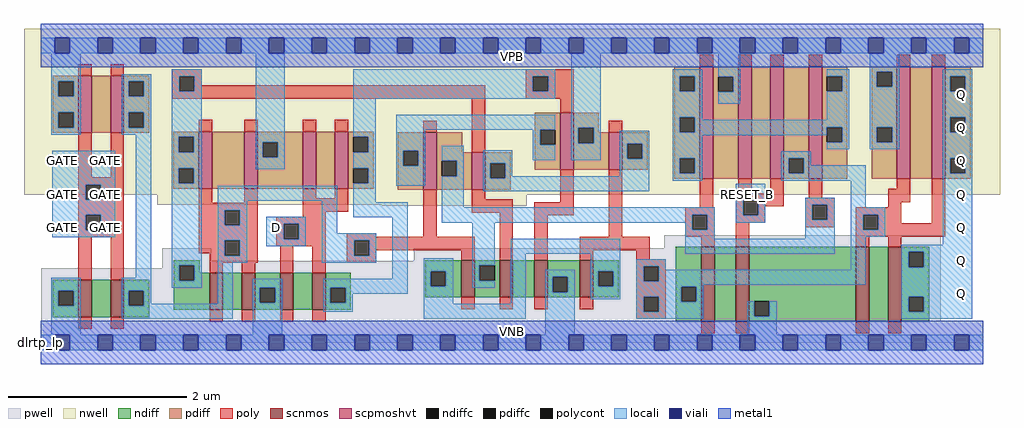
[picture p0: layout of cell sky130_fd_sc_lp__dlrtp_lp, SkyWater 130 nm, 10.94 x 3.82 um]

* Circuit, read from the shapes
.subckt sky130_fd_sc_lp__dlrtp_lp D GATE RESET_B VGND VNB VPB VPWR Q
XM1 n1 GATE VGND VNB sky130_fd_pr__nfet_01v8 w=0.42 l=0.15
XM2 n2 GATE n1 VNB sky130_fd_pr__nfet_01v8 w=0.42 l=0.15
XM3 n3 n2 n4 VNB sky130_fd_pr__nfet_01v8 w=0.42 l=0.15
XM4 VGND n2 n3 VNB sky130_fd_pr__nfet_01v8 w=0.42 l=0.15
XM5 n5 D VGND VNB sky130_fd_pr__nfet_01v8 w=0.42 l=0.15
XM6 n6 D n5 VNB sky130_fd_pr__nfet_01v8 w=0.42 l=0.15
XM7 n7 n2 n8 VNB sky130_fd_pr__nfet_01v8 w=0.42 l=0.15
XM8 n9 n4 n7 VNB sky130_fd_pr__nfet_01v8 w=0.42 l=0.15
XM9 VGND n6 n9 VNB sky130_fd_pr__nfet_01v8 w=0.42 l=0.15
XM10 n8 n10 VGND VNB sky130_fd_pr__nfet_01v8 w=0.42 l=0.15
XM11 n11 n7 n10 VNB sky130_fd_pr__nfet_01v8 w=0.84 l=0.15
XM12 VGND RESET_B n11 VNB sky130_fd_pr__nfet_01v8 w=0.84 l=0.15
XM13 n12 n10 VGND VNB sky130_fd_pr__nfet_01v8 w=0.84 l=0.15
XM14 Q n10 n12 VNB sky130_fd_pr__nfet_01v8 w=0.84 l=0.15
XM15 n13 GATE VPWR VPB sky130_fd_pr__pfet_01v8_hvt w=0.64 l=0.15
XM16 n2 GATE n13 VPB sky130_fd_pr__pfet_01v8_hvt w=0.64 l=0.15
XM17 n14 n2 n4 VPB sky130_fd_pr__pfet_01v8_hvt w=0.64 l=0.15
XM18 VPWR n2 n14 VPB sky130_fd_pr__pfet_01v8_hvt w=0.64 l=0.15
XM19 n15 D VPWR VPB sky130_fd_pr__pfet_01v8_hvt w=0.64 l=0.15
XM20 n6 D n15 VPB sky130_fd_pr__pfet_01v8_hvt w=0.64 l=0.15
XM21 n7 n2 n16 VPB sky130_fd_pr__pfet_01v8_hvt w=0.64 l=0.15
XM22 n17 n4 n7 VPB sky130_fd_pr__pfet_01v8_hvt w=0.42 l=0.15
XM23 VPWR n6 n16 VPB sky130_fd_pr__pfet_01v8_hvt w=0.64 l=0.15
XM24 n17 n10 VPWR VPB sky130_fd_pr__pfet_01v8_hvt w=0.42 l=0.15
XM25 VPWR n7 n18 VPB sky130_fd_pr__pfet_01v8_hvt w=1.26 l=0.15
XM26 n19 RESET_B VPWR VPB sky130_fd_pr__pfet_01v8_hvt w=1.26 l=0.15
XM27 n10 RESET_B n19 VPB sky130_fd_pr__pfet_01v8_hvt w=1.26 l=0.15
XM28 n18 n7 n10 VPB sky130_fd_pr__pfet_01v8_hvt w=1.26 l=0.15
XM29 n20 n10 VPWR VPB sky130_fd_pr__pfet_01v8_hvt w=1.26 l=0.15
XM30 Q n10 n20 VPB sky130_fd_pr__pfet_01v8_hvt w=1.26 l=0.15
.ends

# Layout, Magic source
magic
tech sky130A
magscale 1 2
<< nwell >>
rect -38 331 2150 704
rect 261 309 1089 331
rect 764 307 1089 309
<< pwell >>
rect 1397 211 2017 241
rect 272 183 382 211
rect 836 183 2017 211
rect 272 167 2017 183
rect 1 49 2017 167
rect 0 0 2112 49
<< scnmos >>
rect 84 57 114 141
rect 156 57 186 141
rect 378 73 408 157
rect 450 73 480 157
rect 536 73 566 157
rect 608 73 638 157
rect 942 101 972 185
rect 1028 101 1058 185
rect 1106 101 1136 185
rect 1208 101 1238 185
rect 1480 47 1510 215
rect 1558 47 1588 215
rect 1827 47 1857 215
rect 1899 47 1929 215
<< scpmoshvt >>
rect 84 470 114 598
rect 156 470 186 598
rect 354 345 384 473
rect 456 345 486 473
rect 587 345 617 473
rect 659 345 689 473
rect 857 343 887 471
rect 966 343 996 427
rect 1164 387 1194 515
rect 1273 387 1303 471
rect 1477 367 1507 619
rect 1563 367 1593 619
rect 1635 367 1665 619
rect 1721 367 1751 619
rect 1919 367 1949 619
rect 1997 367 2027 619
<< ndiff >>
rect 298 173 356 185
rect 27 116 84 141
rect 27 82 39 116
rect 73 82 84 116
rect 27 57 84 82
rect 114 57 156 141
rect 186 116 243 141
rect 186 82 197 116
rect 231 82 243 116
rect 186 57 243 82
rect 298 139 310 173
rect 344 157 356 173
rect 862 160 942 185
rect 344 139 378 157
rect 298 73 378 139
rect 408 73 450 157
rect 480 123 536 157
rect 480 89 491 123
rect 525 89 536 123
rect 480 73 536 89
rect 566 73 608 157
rect 638 123 695 157
rect 638 89 649 123
rect 683 89 695 123
rect 862 126 874 160
rect 908 126 942 160
rect 862 101 942 126
rect 972 173 1028 185
rect 972 139 983 173
rect 1017 139 1028 173
rect 972 101 1028 139
rect 1058 101 1106 185
rect 1136 147 1208 185
rect 1136 113 1147 147
rect 1181 113 1208 147
rect 1136 101 1208 113
rect 1238 160 1295 185
rect 1238 126 1249 160
rect 1283 126 1295 160
rect 1238 101 1295 126
rect 638 73 695 89
rect 1423 125 1480 215
rect 1423 91 1435 125
rect 1469 91 1480 125
rect 1423 47 1480 91
rect 1510 47 1558 215
rect 1588 93 1827 215
rect 1588 59 1599 93
rect 1633 59 1827 93
rect 1588 47 1827 59
rect 1857 47 1899 215
rect 1929 203 1991 215
rect 1929 169 1945 203
rect 1979 169 1991 203
rect 1929 103 1991 169
rect 1929 69 1945 103
rect 1979 69 1991 103
rect 1929 47 1991 69
<< pdiff >>
rect 27 586 84 598
rect 27 552 39 586
rect 73 552 84 586
rect 27 516 84 552
rect 27 482 39 516
rect 73 482 84 516
rect 27 470 84 482
rect 114 470 156 598
rect 186 586 243 598
rect 186 552 197 586
rect 231 552 243 586
rect 186 516 243 552
rect 186 482 197 516
rect 231 482 243 516
rect 186 470 243 482
rect 297 461 354 473
rect 297 427 309 461
rect 343 427 354 461
rect 297 391 354 427
rect 297 357 309 391
rect 343 357 354 391
rect 297 345 354 357
rect 384 345 456 473
rect 486 449 587 473
rect 486 415 497 449
rect 531 415 587 449
rect 486 345 587 415
rect 617 345 659 473
rect 689 461 746 473
rect 689 427 700 461
rect 734 427 746 461
rect 689 391 746 427
rect 689 357 700 391
rect 734 357 746 391
rect 689 345 746 357
rect 800 430 857 471
rect 800 396 812 430
rect 846 396 857 430
rect 800 343 857 396
rect 887 427 944 471
rect 1420 597 1477 619
rect 1420 563 1432 597
rect 1466 563 1477 597
rect 1107 477 1164 515
rect 1107 443 1119 477
rect 1153 443 1164 477
rect 887 407 966 427
rect 887 373 898 407
rect 932 373 966 407
rect 887 343 966 373
rect 996 402 1053 427
rect 996 368 1007 402
rect 1041 368 1053 402
rect 1107 387 1164 443
rect 1194 481 1251 515
rect 1420 505 1477 563
rect 1194 447 1205 481
rect 1239 471 1251 481
rect 1420 471 1432 505
rect 1466 471 1477 505
rect 1239 447 1273 471
rect 1194 387 1273 447
rect 1303 446 1360 471
rect 1303 412 1314 446
rect 1348 412 1360 446
rect 1303 387 1360 412
rect 1420 413 1477 471
rect 996 343 1053 368
rect 1420 379 1432 413
rect 1466 379 1477 413
rect 1420 367 1477 379
rect 1507 596 1563 619
rect 1507 562 1518 596
rect 1552 562 1563 596
rect 1507 367 1563 562
rect 1593 367 1635 619
rect 1665 413 1721 619
rect 1665 379 1676 413
rect 1710 379 1721 413
rect 1665 367 1721 379
rect 1751 597 1808 619
rect 1751 563 1762 597
rect 1796 563 1808 597
rect 1751 483 1808 563
rect 1751 449 1762 483
rect 1796 449 1808 483
rect 1751 367 1808 449
rect 1862 607 1919 619
rect 1862 573 1874 607
rect 1908 573 1919 607
rect 1862 483 1919 573
rect 1862 449 1874 483
rect 1908 449 1919 483
rect 1862 367 1919 449
rect 1949 367 1997 619
rect 2027 597 2084 619
rect 2027 563 2038 597
rect 2072 563 2084 597
rect 2027 505 2084 563
rect 2027 471 2038 505
rect 2072 471 2084 505
rect 2027 413 2084 471
rect 2027 379 2038 413
rect 2072 379 2084 413
rect 2027 367 2084 379
<< ndiffc >>
rect 39 82 73 116
rect 197 82 231 116
rect 310 139 344 173
rect 491 89 525 123
rect 649 89 683 123
rect 874 126 908 160
rect 983 139 1017 173
rect 1147 113 1181 147
rect 1249 126 1283 160
rect 1435 91 1469 125
rect 1599 59 1633 93
rect 1945 169 1979 203
rect 1945 69 1979 103
<< pdiffc >>
rect 39 552 73 586
rect 39 482 73 516
rect 197 552 231 586
rect 197 482 231 516
rect 309 427 343 461
rect 309 357 343 391
rect 497 415 531 449
rect 700 427 734 461
rect 700 357 734 391
rect 812 396 846 430
rect 1432 563 1466 597
rect 1119 443 1153 477
rect 898 373 932 407
rect 1007 368 1041 402
rect 1205 447 1239 481
rect 1432 471 1466 505
rect 1314 412 1348 446
rect 1432 379 1466 413
rect 1518 562 1552 596
rect 1676 379 1710 413
rect 1762 563 1796 597
rect 1762 449 1796 483
rect 1874 573 1908 607
rect 1874 449 1908 483
rect 2038 563 2072 597
rect 2038 471 2072 505
rect 2038 379 2072 413
<< poly >>
rect 84 598 114 624
rect 156 598 186 624
rect 1477 619 1507 645
rect 1563 619 1593 645
rect 1635 619 1665 645
rect 1721 619 1751 645
rect 1919 619 1949 645
rect 1997 619 2027 645
rect 294 597 360 613
rect 294 563 310 597
rect 344 577 360 597
rect 1087 597 1194 613
rect 344 563 996 577
rect 294 547 996 563
rect 1087 563 1103 597
rect 1137 563 1194 597
rect 1087 547 1194 563
rect 354 473 384 499
rect 456 473 486 499
rect 587 473 617 499
rect 659 473 689 499
rect 84 370 114 470
rect 156 370 186 470
rect 84 354 186 370
rect 84 320 100 354
rect 134 320 186 354
rect 857 471 887 497
rect 84 286 186 320
rect 84 252 100 286
rect 134 252 186 286
rect 84 236 186 252
rect 84 141 114 236
rect 156 141 186 236
rect 354 313 384 345
rect 456 313 486 345
rect 354 297 486 313
rect 354 263 412 297
rect 446 263 486 297
rect 587 323 617 345
rect 659 323 689 345
rect 966 427 996 547
rect 1164 515 1194 547
rect 1273 471 1303 497
rect 587 293 689 323
rect 587 282 638 293
rect 354 229 486 263
rect 354 200 412 229
rect 378 195 412 200
rect 446 195 486 229
rect 528 266 638 282
rect 528 232 544 266
rect 578 232 638 266
rect 528 216 638 232
rect 378 179 486 195
rect 378 157 408 179
rect 450 157 480 179
rect 536 157 566 216
rect 608 157 638 216
rect 686 237 752 245
rect 857 237 887 343
rect 966 321 996 343
rect 966 291 1058 321
rect 1164 315 1194 387
rect 686 229 972 237
rect 686 195 702 229
rect 736 207 972 229
rect 736 195 752 207
rect 686 179 752 195
rect 942 185 972 207
rect 1028 185 1058 291
rect 1106 285 1194 315
rect 1106 185 1136 285
rect 1273 237 1303 387
rect 1477 303 1507 367
rect 1563 335 1593 367
rect 1635 335 1665 367
rect 1558 319 1665 335
rect 1721 325 1751 367
rect 1919 345 1949 367
rect 1444 287 1510 303
rect 1444 253 1460 287
rect 1494 253 1510 287
rect 1444 237 1510 253
rect 1208 207 1365 237
rect 1480 215 1510 237
rect 1558 285 1574 319
rect 1608 305 1665 319
rect 1713 309 1779 325
rect 1608 285 1624 305
rect 1558 269 1624 285
rect 1713 275 1729 309
rect 1763 275 1779 309
rect 1899 315 1949 345
rect 1899 303 1929 315
rect 1558 215 1588 269
rect 1713 259 1779 275
rect 1827 287 1929 303
rect 1827 253 1843 287
rect 1877 267 1929 287
rect 1997 267 2027 367
rect 1877 253 2027 267
rect 1827 237 2027 253
rect 1827 215 1857 237
rect 1899 215 1929 237
rect 1208 185 1238 207
rect 1335 187 1365 207
rect 1335 171 1401 187
rect 1335 137 1351 171
rect 1385 137 1401 171
rect 1335 103 1401 137
rect 942 75 972 101
rect 1028 75 1058 101
rect 1106 75 1136 101
rect 1208 75 1238 101
rect 84 31 114 57
rect 156 31 186 57
rect 378 47 408 73
rect 450 47 480 73
rect 536 47 566 73
rect 608 47 638 73
rect 1335 69 1351 103
rect 1385 69 1401 103
rect 1335 53 1401 69
rect 1480 21 1510 47
rect 1558 21 1588 47
rect 1827 21 1857 47
rect 1899 21 1929 47
<< polycont >>
rect 310 563 344 597
rect 1103 563 1137 597
rect 100 320 134 354
rect 100 252 134 286
rect 412 263 446 297
rect 412 195 446 229
rect 544 232 578 266
rect 702 195 736 229
rect 1460 253 1494 287
rect 1574 285 1608 319
rect 1729 275 1763 309
rect 1843 253 1877 287
rect 1351 137 1385 171
rect 1351 69 1385 103
<< locali >>
rect 0 649 31 683
rect 65 649 127 683
rect 161 649 223 683
rect 257 649 319 683
rect 353 649 415 683
rect 449 649 511 683
rect 545 649 607 683
rect 641 649 703 683
rect 737 649 799 683
rect 833 649 895 683
rect 929 649 991 683
rect 1025 649 1087 683
rect 1121 649 1183 683
rect 1217 649 1279 683
rect 1313 649 1375 683
rect 1409 649 1471 683
rect 1505 649 1567 683
rect 1601 649 1663 683
rect 1697 649 1759 683
rect 1793 649 1855 683
rect 1889 649 1951 683
rect 1985 649 2047 683
rect 2081 649 2112 683
rect 23 586 89 649
rect 23 552 39 586
rect 73 552 89 586
rect 23 516 89 552
rect 23 482 39 516
rect 73 482 89 516
rect 23 466 89 482
rect 181 586 247 602
rect 181 552 197 586
rect 231 552 247 586
rect 181 516 247 552
rect 181 482 197 516
rect 231 482 247 516
rect 181 466 247 482
rect 25 354 167 430
rect 25 320 100 354
rect 134 320 167 354
rect 25 286 167 320
rect 25 252 100 286
rect 134 252 167 286
rect 25 236 167 252
rect 213 145 247 466
rect 23 116 89 145
rect 23 82 39 116
rect 73 82 89 116
rect 23 17 89 82
rect 181 116 247 145
rect 293 597 360 613
rect 293 563 310 597
rect 344 563 360 597
rect 293 461 360 563
rect 293 427 309 461
rect 343 427 360 461
rect 293 391 360 427
rect 293 357 309 391
rect 343 357 360 391
rect 481 449 547 649
rect 481 415 497 449
rect 531 415 547 449
rect 481 388 547 415
rect 700 597 1153 613
rect 700 563 1103 597
rect 1137 563 1153 597
rect 700 547 1153 563
rect 700 461 750 547
rect 734 427 750 461
rect 700 391 750 427
rect 293 173 360 357
rect 734 357 750 391
rect 293 139 310 173
rect 344 139 360 173
rect 293 123 360 139
rect 396 318 664 352
rect 396 297 462 318
rect 396 263 412 297
rect 446 263 462 297
rect 396 229 462 263
rect 396 195 412 229
rect 446 195 462 229
rect 505 266 594 282
rect 505 232 544 266
rect 578 232 594 266
rect 505 216 594 232
rect 630 245 664 318
rect 700 315 750 357
rect 796 477 1153 511
rect 796 430 862 477
rect 1103 443 1119 477
rect 796 396 812 430
rect 846 396 862 430
rect 796 351 862 396
rect 898 407 948 441
rect 932 373 948 407
rect 700 281 822 315
rect 630 229 752 245
rect 396 179 462 195
rect 630 195 702 229
rect 736 195 752 229
rect 630 179 752 195
rect 181 82 197 116
rect 231 87 247 116
rect 396 87 430 179
rect 788 143 822 281
rect 898 303 948 373
rect 991 402 1057 431
rect 1103 409 1153 443
rect 1189 481 1255 649
rect 1189 447 1205 481
rect 1239 447 1255 481
rect 1416 597 1482 613
rect 1416 563 1432 597
rect 1466 563 1482 597
rect 1416 505 1482 563
rect 1518 596 1568 649
rect 1552 562 1568 596
rect 1518 535 1568 562
rect 1762 597 1812 613
rect 1796 563 1812 597
rect 1189 409 1255 447
rect 1298 446 1364 475
rect 1298 412 1314 446
rect 1348 412 1364 446
rect 991 368 1007 402
rect 1041 373 1057 402
rect 1298 373 1364 412
rect 1041 368 1364 373
rect 991 339 1364 368
rect 1416 471 1432 505
rect 1466 499 1482 505
rect 1762 499 1812 563
rect 1466 483 1812 499
rect 1466 471 1762 483
rect 1416 465 1762 471
rect 1416 413 1482 465
rect 1796 449 1812 483
rect 1762 433 1812 449
rect 1858 607 1924 649
rect 1858 573 1874 607
rect 1908 573 1924 607
rect 1858 483 1924 573
rect 1858 449 1874 483
rect 1908 449 1924 483
rect 1858 433 1924 449
rect 2022 597 2088 613
rect 2022 563 2038 597
rect 2072 563 2088 597
rect 2022 505 2088 563
rect 2022 471 2038 505
rect 2072 471 2088 505
rect 1416 379 1432 413
rect 1466 379 1482 413
rect 1416 363 1482 379
rect 1660 413 1726 429
rect 1660 379 1676 413
rect 1710 397 1726 413
rect 2022 413 2088 471
rect 1710 379 1849 397
rect 1660 363 1849 379
rect 1558 319 1624 356
rect 898 287 1510 303
rect 898 269 1460 287
rect 231 82 430 87
rect 181 53 430 82
rect 475 123 541 143
rect 475 89 491 123
rect 525 89 541 123
rect 475 17 541 89
rect 633 123 822 143
rect 633 89 649 123
rect 683 109 822 123
rect 858 160 924 189
rect 858 126 874 160
rect 908 126 924 160
rect 683 89 699 109
rect 633 69 699 89
rect 858 87 924 126
rect 967 173 1017 269
rect 1444 253 1460 269
rect 1494 253 1510 287
rect 1558 285 1574 319
rect 1608 285 1624 319
rect 1558 269 1624 285
rect 1713 309 1779 325
rect 1713 275 1729 309
rect 1763 275 1779 309
rect 1444 233 1510 253
rect 1713 233 1779 275
rect 967 139 983 173
rect 967 123 1017 139
rect 1053 199 1299 233
rect 1444 199 1779 233
rect 1815 303 1849 363
rect 2022 379 2038 413
rect 2072 379 2088 413
rect 1815 287 1893 303
rect 1815 253 1843 287
rect 1877 253 1893 287
rect 1815 237 1893 253
rect 1053 87 1087 199
rect 858 53 1087 87
rect 1131 147 1197 163
rect 1131 113 1147 147
rect 1181 113 1197 147
rect 1131 17 1197 113
rect 1233 160 1299 199
rect 1233 126 1249 160
rect 1283 126 1299 160
rect 1233 97 1299 126
rect 1335 171 1401 187
rect 1335 137 1351 171
rect 1385 163 1401 171
rect 1815 163 1849 237
rect 2022 219 2088 379
rect 1385 137 1849 163
rect 1335 129 1849 137
rect 1929 203 2088 219
rect 1929 169 1945 203
rect 1979 169 2088 203
rect 1335 125 1485 129
rect 1335 103 1435 125
rect 1335 69 1351 103
rect 1385 91 1435 103
rect 1469 91 1485 125
rect 1929 103 2088 169
rect 1385 69 1485 91
rect 1335 53 1485 69
rect 1583 59 1599 93
rect 1633 59 1649 93
rect 1583 17 1649 59
rect 1929 69 1945 103
rect 1979 69 2088 103
rect 1929 53 2088 69
rect 0 -17 31 17
rect 65 -17 127 17
rect 161 -17 223 17
rect 257 -17 319 17
rect 353 -17 415 17
rect 449 -17 511 17
rect 545 -17 607 17
rect 641 -17 703 17
rect 737 -17 799 17
rect 833 -17 895 17
rect 929 -17 991 17
rect 1025 -17 1087 17
rect 1121 -17 1183 17
rect 1217 -17 1279 17
rect 1313 -17 1375 17
rect 1409 -17 1471 17
rect 1505 -17 1567 17
rect 1601 -17 1663 17
rect 1697 -17 1759 17
rect 1793 -17 1855 17
rect 1889 -17 1951 17
rect 1985 -17 2047 17
rect 2081 -17 2112 17
<< viali >>
rect 31 649 65 683
rect 127 649 161 683
rect 223 649 257 683
rect 319 649 353 683
rect 415 649 449 683
rect 511 649 545 683
rect 607 649 641 683
rect 703 649 737 683
rect 799 649 833 683
rect 895 649 929 683
rect 991 649 1025 683
rect 1087 649 1121 683
rect 1183 649 1217 683
rect 1279 649 1313 683
rect 1375 649 1409 683
rect 1471 649 1505 683
rect 1567 649 1601 683
rect 1663 649 1697 683
rect 1759 649 1793 683
rect 1855 649 1889 683
rect 1951 649 1985 683
rect 2047 649 2081 683
rect 31 -17 65 17
rect 127 -17 161 17
rect 223 -17 257 17
rect 319 -17 353 17
rect 415 -17 449 17
rect 511 -17 545 17
rect 607 -17 641 17
rect 703 -17 737 17
rect 799 -17 833 17
rect 895 -17 929 17
rect 991 -17 1025 17
rect 1087 -17 1121 17
rect 1183 -17 1217 17
rect 1279 -17 1313 17
rect 1375 -17 1409 17
rect 1471 -17 1505 17
rect 1567 -17 1601 17
rect 1663 -17 1697 17
rect 1759 -17 1793 17
rect 1855 -17 1889 17
rect 1951 -17 1985 17
rect 2047 -17 2081 17
<< metal1 >>
rect 0 683 2112 715
rect 0 649 31 683
rect 65 649 127 683
rect 161 649 223 683
rect 257 649 319 683
rect 353 649 415 683
rect 449 649 511 683
rect 545 649 607 683
rect 641 649 703 683
rect 737 649 799 683
rect 833 649 895 683
rect 929 649 991 683
rect 1025 649 1087 683
rect 1121 649 1183 683
rect 1217 649 1279 683
rect 1313 649 1375 683
rect 1409 649 1471 683
rect 1505 649 1567 683
rect 1601 649 1663 683
rect 1697 649 1759 683
rect 1793 649 1855 683
rect 1889 649 1951 683
rect 1985 649 2047 683
rect 2081 649 2112 683
rect 0 617 2112 649
rect 0 17 2112 49
rect 0 -17 31 17
rect 65 -17 127 17
rect 161 -17 223 17
rect 257 -17 319 17
rect 353 -17 415 17
rect 449 -17 511 17
rect 545 -17 607 17
rect 641 -17 703 17
rect 737 -17 799 17
rect 833 -17 895 17
rect 929 -17 991 17
rect 1025 -17 1087 17
rect 1121 -17 1183 17
rect 1217 -17 1279 17
rect 1313 -17 1375 17
rect 1409 -17 1471 17
rect 1505 -17 1567 17
rect 1601 -17 1663 17
rect 1697 -17 1759 17
rect 1793 -17 1855 17
rect 1889 -17 1951 17
rect 1985 -17 2047 17
rect 2081 -17 2112 17
rect 0 -49 2112 -17
<< labels >>
flabel pwell s 0 0 2112 49 0 FreeSans 200 0 0 0 VNB
port 5 nsew ground bidirectional
flabel nwell s 0 617 2112 666 0 FreeSans 200 0 0 0 VPB
port 6 nsew power bidirectional
rlabel comment s 0 0 0 0 4 dlrtp_lp
flabel metal1 s 0 617 2112 666 0 FreeSans 340 0 0 0 VPWR
port 7 nsew power bidirectional
flabel metal1 s 0 0 2112 49 0 FreeSans 340 0 0 0 VGND
port 4 nsew ground bidirectional
flabel locali s 31 242 65 276 0 FreeSans 340 0 0 0 GATE
port 2 nsew clock input
flabel locali s 31 316 65 350 0 FreeSans 340 0 0 0 GATE
port 2 nsew clock input
flabel locali s 31 390 65 424 0 FreeSans 340 0 0 0 GATE
port 2 nsew clock input
flabel locali s 127 242 161 276 0 FreeSans 340 0 0 0 GATE
port 2 nsew clock input
flabel locali s 127 316 161 350 0 FreeSans 340 0 0 0 GATE
port 2 nsew clock input
flabel locali s 127 390 161 424 0 FreeSans 340 0 0 0 GATE
port 2 nsew clock input
flabel locali s 511 242 545 276 0 FreeSans 340 0 0 0 D
port 1 nsew signal input
flabel locali s 1567 316 1601 350 0 FreeSans 340 0 0 0 RESET_B
port 3 nsew signal input
flabel locali s 2047 94 2081 128 0 FreeSans 340 0 0 0 Q
port 8 nsew signal output
flabel locali s 2047 168 2081 202 0 FreeSans 340 0 0 0 Q
port 8 nsew signal output
flabel locali s 2047 242 2081 276 0 FreeSans 340 0 0 0 Q
port 8 nsew signal output
flabel locali s 2047 316 2081 350 0 FreeSans 340 0 0 0 Q
port 8 nsew signal output
flabel locali s 2047 390 2081 424 0 FreeSans 340 0 0 0 Q
port 8 nsew signal output
flabel locali s 2047 464 2081 498 0 FreeSans 340 0 0 0 Q
port 8 nsew signal output
flabel locali s 2047 538 2081 572 0 FreeSans 340 0 0 0 Q
port 8 nsew signal output
<< properties >>
string LEFsite unit
string LEFclass CORE
string FIXED_BBOX 0 0 2112 666
string GDS_FILE $PDKPATH/libs.ref/sky130_fd_sc_lp/gds/sky130_fd_sc_lp.gds
string LEFsymmetry X Y R90
string GDS_END 1897908
string GDS_START 1883634
<< end >>
